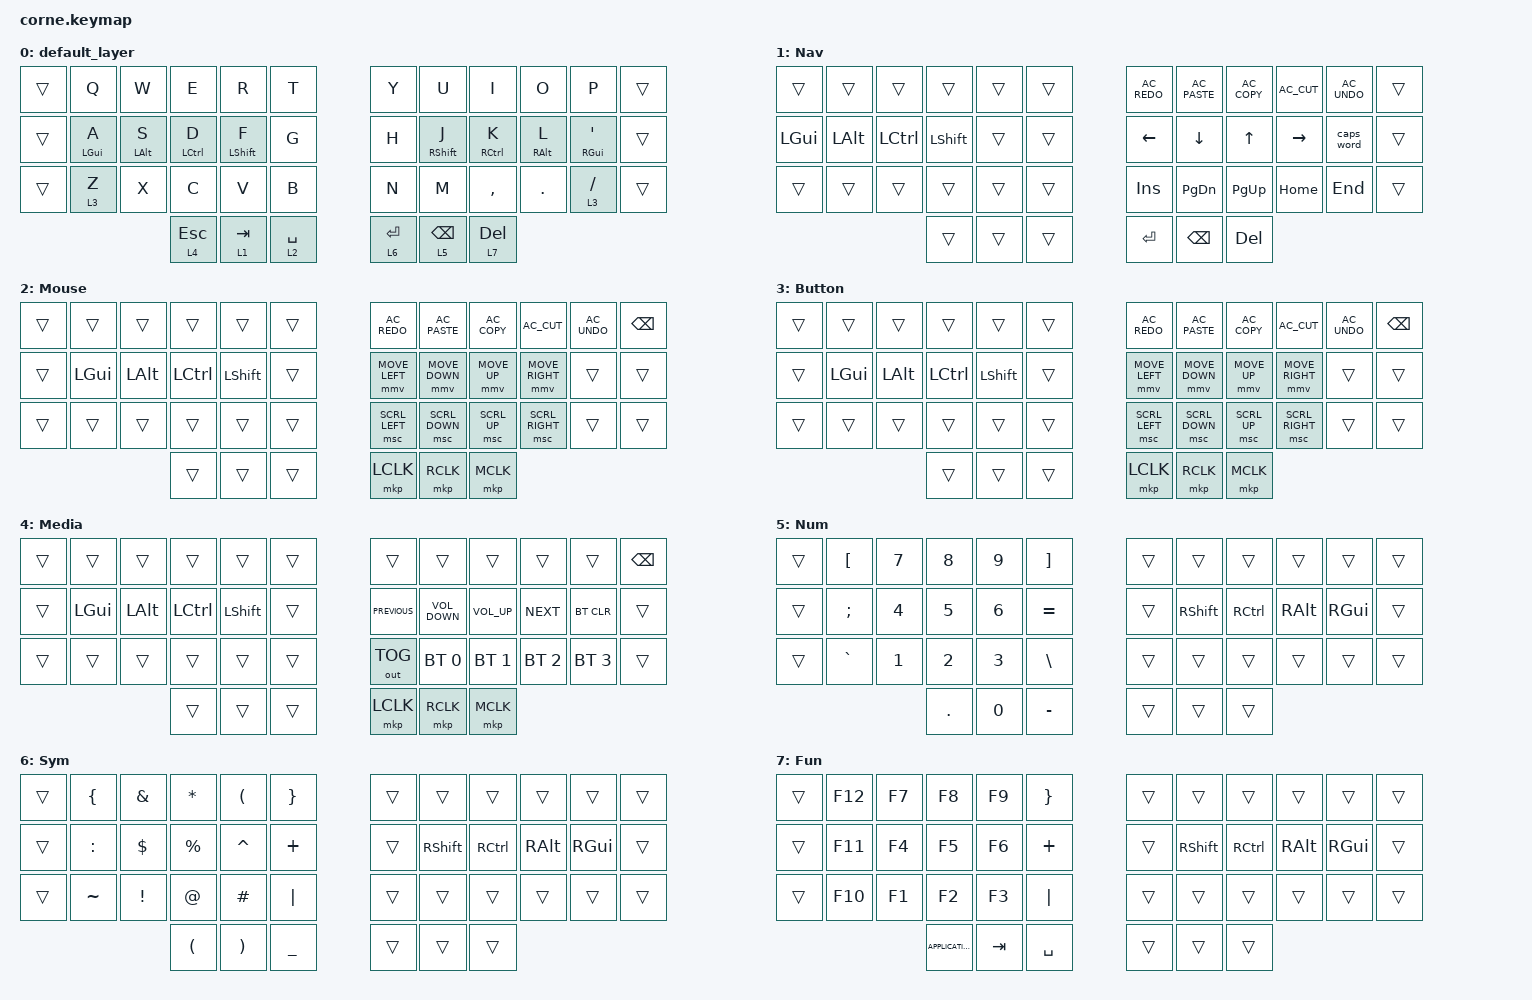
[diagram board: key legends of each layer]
/*
 * Copyright (c) 2020 The ZMK Contributors
 *
 * SPDX-License-Identifier: MIT
 */

#include <behaviors.dtsi>
#include <dt-bindings/zmk/bt.h>
#include <dt-bindings/zmk/keys.h>
#include <dt-bindings/zmk/outputs.h>
#include <dt-bindings/zmk/pointing.h>

#define KEYS_L LT0 LT1 LT2 LT3 LT4 LM0 LM1 LM2 LM3 LM4 LB0 LB1 LB2 LB3 LB4  // Left-hand keys.
#define KEYS_R RT0 RT1 RT2 RT3 RT4 RM0 RM1 RM2 RM3 RM4 RB0 RB1 RB2 RB3 RB4  // Right-hand keys.
#define THUMBS LH2 LH1 LH0 RH0 RH1 RH2                                      // Thumb keys.

/ {
    behaviors {
        /* Left-hand Timeless HRM */
        /* Right-hand Timeless HRM */

        hml: hml {
            compatible = "zmk,behavior-hold-tap";
            label = "HML";
            bindings = <&kp>, <&kp>;

            #binding-cells = <2>;
            tapping-term-ms = <280>;
            quick-tap-ms = <175>;
            require-prior-idle-ms = <150>;
            flavor = "balanced";
            hold-trigger-key-positions = <6 18 30 39 40 6 7 8 9 10 11 18 19 20 21 22 23 30 31 32 33 34 35 39 40 41>;
            hold-trigger-on-release;
        };

        hmr: hmr {
            compatible = "zmk,behavior-hold-tap";
            label = "HMR";
            bindings = <&kp>, <&kp>;

            #binding-cells = <2>;
            tapping-term-ms = <280>;
            quick-tap-ms = <175>;
            require-prior-idle-ms = <150>;
            flavor = "balanced";
            hold-trigger-key-positions = <0 1 2 3 4 5 12 13 14 15 16 17 24 25 26 27 28 29 36 37 38>;
            hold-trigger-on-release;
        };
    };

    keymap {
        compatible = "zmk,keymap";

        default_layer {
            // -----------------------------------------------------------------------------------------
            // |  TAB |  Q  |  W  |  E  |  R  |  T  |   |  Y  |  U   |  I  |  O  |  P  | BKSP |
            // | CTRL |  A  |  S  |  D  |  F  |  G  |   |  H  |  J   |  K  |  L  |  ;  |  '   |
            // | SHFT |  Z  |  X  |  C  |  V  |  B  |   |  N  |  M   |  ,  |  .  |  /  | ESC  |
            //                    | GUI | LWR | SPC |   | ENT | RSE  | ALT |

            bindings = <
&trans  &kp Q        &kp W            &kp E         &kp R        &kp T          &kp Y        &kp U            &kp I         &kp O        &kp P           &trans
&trans  &hml LGUI A  &hml LEFT_ALT S  &hmr LCTRL D  &mt LSHFT F  &kp G          &kp H        &hmr RSHFT J     &hmr RCTRL K  &hmr RALT L  &hmr RGUI APOS  &trans
&trans  &lt 3 Z      &kp X            &kp C         &kp V        &kp B          &kp N        &kp M            &kp COMMA     &kp DOT      &lt 3 SLASH     &trans
                                      &lt 4 ESC     &lt 1 TAB    &lt 2 SPACE    &lt 6 ENTER  &lt 5 BACKSPACE  &lt 7 DELETE
            >;
        };

        Nav {
            bindings = <
&trans    &trans        &trans     &trans          &trans  &trans    &kp C_AC_REDO   &kp C_AC_PASTE  &kp C_AC_COPY  &kp C_AC_CUT     &kp C_AC_UNDO  &trans
&kp LGUI  &kp LEFT_ALT  &kp LCTRL  &kp LEFT_SHIFT  &trans  &trans    &kp LEFT_ARROW  &kp DOWN_ARROW  &kp UP_ARROW   &kp RIGHT_ARROW  &caps_word     &trans
&trans    &trans        &trans     &trans          &trans  &trans    &kp INSERT      &kp PAGE_DOWN   &kp PG_UP      &kp HOME         &kp END        &trans
                                   &trans          &trans  &trans    &kp ENTER       &kp BACKSPACE   &kp DELETE
            >;
        };

        Mouse {
            // -----------------------------------------------------------------------------------------
            // |  TAB |  1  |  2  |  3  |  4  |  5  |   |  6  |  7  |  8  |  9  |  0  | BKSP |
            // | BTCLR| BT1 | BT2 | BT3 | BT4 | BT5 |   | LFT | DWN |  UP | RGT |     |      |
            // | SHFT |     |     |     |     |     |   |     |     |     |     |     |      |
            //                    | GUI |     | SPC |   | ENT |     | ALT |

            bindings = <
&trans  &trans    &trans        &trans     &trans      &trans    &kp C_AC_REDO   &kp C_AC_PASTE  &kp C_AC_COPY  &kp C_AC_CUT     &kp C_AC_UNDO  &kp BSPC
&trans  &kp LGUI  &kp LEFT_ALT  &kp LCTRL  &kp LSHIFT  &trans    &mmv MOVE_LEFT  &mmv MOVE_DOWN  &mmv MOVE_UP   &mmv MOVE_RIGHT  &trans         &trans
&trans  &trans    &trans        &trans     &trans      &trans    &msc SCRL_LEFT  &msc SCRL_DOWN  &msc SCRL_UP   &msc SCRL_RIGHT  &trans         &trans
                                &trans     &trans      &trans    &mkp LCLK       &mkp RCLK       &mkp MCLK
            >;
        };

        Button {
            bindings = <
&trans  &trans    &trans        &trans     &trans      &trans    &kp C_AC_REDO   &kp C_AC_PASTE  &kp C_AC_COPY  &kp C_AC_CUT     &kp C_AC_UNDO  &kp BSPC
&trans  &kp LGUI  &kp LEFT_ALT  &kp LCTRL  &kp LSHIFT  &trans    &mmv MOVE_LEFT  &mmv MOVE_DOWN  &mmv MOVE_UP   &mmv MOVE_RIGHT  &trans         &trans
&trans  &trans    &trans        &trans     &trans      &trans    &msc SCRL_LEFT  &msc SCRL_DOWN  &msc SCRL_UP   &msc SCRL_RIGHT  &trans         &trans
                                &trans     &trans      &trans    &mkp LCLK       &mkp RCLK       &mkp MCLK
            >;
        };

        Media {
            bindings = <
&trans  &trans    &trans        &trans     &trans      &trans    &trans          &trans             &trans           &trans        &trans        &kp BSPC
&trans  &kp LGUI  &kp LEFT_ALT  &kp LCTRL  &kp LSHIFT  &trans    &kp C_PREVIOUS  &kp C_VOLUME_DOWN  &kp C_VOLUME_UP  &kp C_NEXT    &bt BT_CLR    &trans
&trans  &trans    &trans        &trans     &trans      &trans    &out OUT_TOG    &bt BT_SEL 0       &bt BT_SEL 1     &bt BT_SEL 2  &bt BT_SEL 3  &trans
                                &trans     &trans      &trans    &mkp LCLK       &mkp RCLK          &mkp MCLK
            >;
        };

        Num {
            bindings = <
&trans  &kp LEFT_BRACKET  &kp NUMBER_7  &kp NUMBER_8  &kp NUMBER_9  &kp RIGHT_BRACKET    &trans  &trans     &trans     &trans    &trans    &trans
&trans  &kp SEMICOLON     &kp NUMBER_4  &kp NUMBER_5  &kp NUMBER_6  &kp EQUAL            &trans  &kp RSHFT  &kp RCTRL  &kp RALT  &kp RGUI  &trans
&trans  &kp GRAVE         &kp NUMBER_1  &kp NUMBER_2  &kp NUMBER_3  &kp BACKSLASH        &trans  &trans     &trans     &trans    &trans    &trans
                                        &kp PERIOD    &kp N0        &kp MINUS            &trans  &trans     &trans
            >;
        };

        Sym {
            bindings = <
&trans  &kp LEFT_BRACE  &kp AMPERSAND  &kp ASTRK             &kp LEFT_PARENTHESIS   &kp RIGHT_BRACE    &trans  &trans     &trans     &trans    &trans    &trans
&trans  &kp COLON       &kp DOLLAR     &kp PERCENT           &kp CARET              &kp PLUS           &trans  &kp RSHFT  &kp RCTRL  &kp RALT  &kp RGUI  &trans
&trans  &kp TILDE       &kp EXCL       &kp AT                &kp HASH               &kp PIPE           &trans  &trans     &trans     &trans    &trans    &trans
                                       &kp LEFT_PARENTHESIS  &kp RIGHT_PARENTHESIS  &kp UNDER          &trans  &trans     &trans
            >;
        };

        Fun {
            bindings = <
&trans  &kp F12  &kp F7  &kp F8             &kp F9   &kp RIGHT_BRACE    &trans  &trans     &trans     &trans    &trans    &trans
&trans  &kp F11  &kp F4  &kp F5             &kp F6   &kp PLUS           &trans  &kp RSHFT  &kp RCTRL  &kp RALT  &kp RGUI  &trans
&trans  &kp F10  &kp F1  &kp F2             &kp F3   &kp PIPE           &trans  &trans     &trans     &trans    &trans    &trans
                         &kp K_APPLICATION  &kp TAB  &kp SPACE          &trans  &trans     &trans
            >;
        };
    };
};
